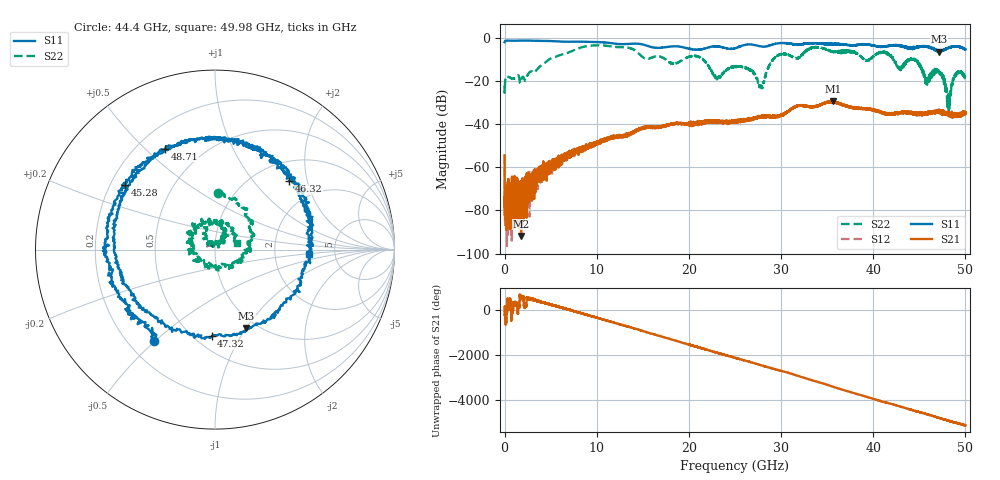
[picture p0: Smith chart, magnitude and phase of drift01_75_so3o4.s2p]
!Created with skrf (http://scikit-rf.org).
# Hz S RI R 50.0
!freq ReS11 ImS11 ReS21 ImS21 ReS12 ImS12 ReS22 ImS22
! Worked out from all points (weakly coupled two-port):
!   10001 points, 300 kHz to 50 GHz, reference 50 ohm
!   highest |S21| = -29.55 dB at 35.6 GHz (marker M1); lowest = -91.9 dB at 1.785 GHz (marker M2)
!   lowest |S11| = -6.6 dB at 47.15 GHz (marker M3), VSWR 2.78, Z = 44.6 - j50 ohm
!   |S11| at or under -10 dB: nowhere
!   |S22| runs from -35.3 to -3.6 dB; largest |S21 - S12| = 0.004
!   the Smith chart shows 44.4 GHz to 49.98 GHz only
!   S11 on the Smith chart (normalised r, x): 44.4 GHz: 0.30, -0.50; 45.28 GHz: 0.26, +0.30; 46.32 GHz: 1.40, +1.56; 47.32 GHz: 0.60, -0.76; 48.71 GHz: 0.31, +0.58; 49.98 GHz: 3.20, -0.19
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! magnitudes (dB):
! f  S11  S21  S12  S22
! 300 kHz  -2.1  -54.5  -54.5  -22.3
! 275.3 MHz  -1.4  -77.8  -78.7  -18.0
! 1.785 GHz  -1.4  -91.9  -68.9  -19.9
! 8.335 GHz  -1.9  -51.4  -51.3  -4.5
! 16.67 GHz  -4.8  -41.5  -41.7  -8.7
! 20.97 GHz  -5.6  -39.6  -39.8  -8.8
! 23.1 GHz  -4.1  -39.7  -38.8  -18.6
! 25 GHz  -5.0  -38.5  -38.9  -13.5
! 27.86 GHz  -4.2  -36.6  -36.4  -23.1
! 29.45 GHz  -2.9  -36.4  -36.7  -8.9
! 33.34 GHz  -2.6  -32.1  -31.9  -4.7
! 35.6 GHz  -3.1  -29.6  -29.8  -6.3
! 41.67 GHz  -3.8  -35.4  -35.4  -8.1
! 44.4 GHz  -4.2  -34.9  -35.1  -10.0
! 45.28 GHz  -4.2  -34.8  -35.1  -14.6
! 46.32 GHz  -5.0  -35.0  -34.3  -18.4
! 47.15 GHz  -6.6  -34.3  -34.1  -16.3
! 47.32 GHz  -6.3  -34.3  -34.6  -17.1
! 48.19 GHz  -4.8  -36.4  -35.0  -29.7
! 48.71 GHz  -4.0  -35.2  -35.8  -19.2
! 49.98 GHz  -5.6  -34.8  -34.3  -18.0
! 50 GHz  -5.4  -34.6  -35.0  -18.0
